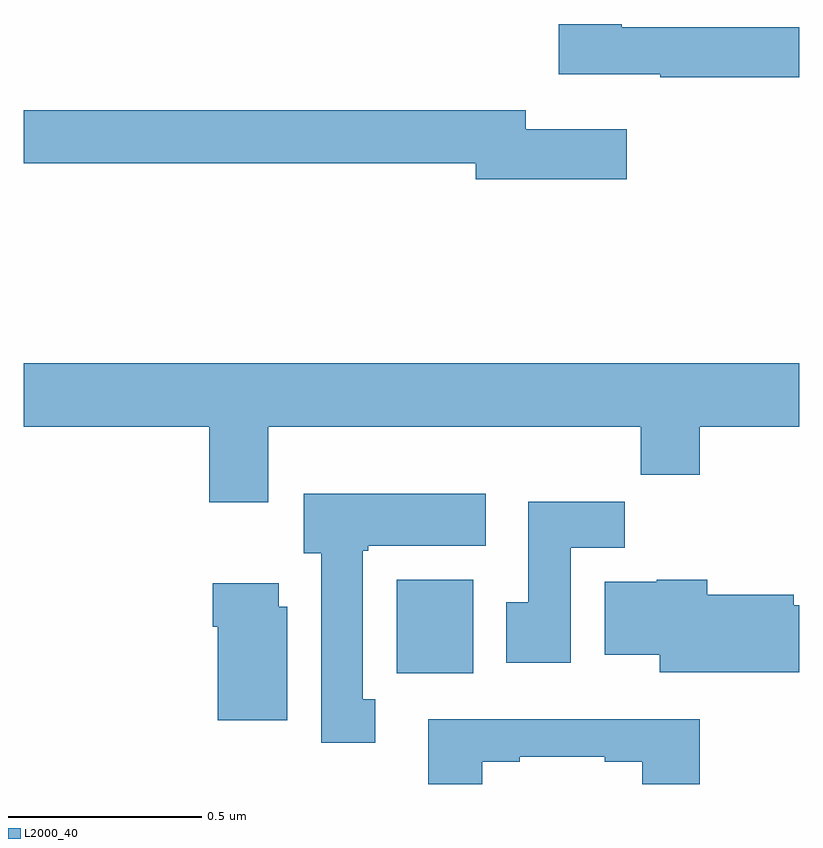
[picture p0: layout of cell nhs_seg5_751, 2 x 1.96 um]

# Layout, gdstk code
import gdstk
lib = gdstk.Library(unit=1e-6, precision=1e-09)
def R(c, l, rs):  # rectangles x0, y0, x1, y1
    for r in rs: c.add(gdstk.rectangle(r[:2], r[2:], *l))
def P(c, l, *ps):  # polygons
    for p in ps: c.add(gdstk.Polygon(p, *l))
L2000_40 = (2000, 40)

nhs_seg5_751 = lib.new_cell('nhs_seg5_751')
R(nhs_seg5_751, L2000_40, [(120.962,896.084,121.159,896.326)])
P(nhs_seg5_751, L2000_40, [(122,897.751),(121.542,897.751),(121.542,897.759),(121.38,897.759),(121.38,897.629),(121.642,897.629),(121.642,897.622),(122,897.622)],
  [(121.555,897.487),(121.294,897.487),(121.294,897.536),(120,897.536),(120,897.4),(121.166,897.4),(121.166,897.358),(121.555,897.358)],
  [(120.631,896.72),(121.591,896.72),(121.591,896.596),(121.743,896.596),(121.743,896.72),(122,896.72),(122,896.884),(120,896.884),(120,896.72),(120.479,896.72),(120.479,896.526),(120.631,896.526)],
  [(120.907,896.018),(120.874,896.018),(120.874,896.401),(120.888,896.401),(120.888,896.414),(121.192,896.414),(121.192,896.548),(120.722,896.548),(120.722,896.394),(120.767,896.394),(120.767,895.905),(120.907,895.905)],
  [(121.411,896.408),(121.55,896.408),(121.55,896.527),(121.301,896.527),(121.301,896.268),(121.244,896.268),(121.244,896.112),(121.411,896.112)],
  [(122,896.26),(121.986,896.26),(121.986,896.287),(121.763,896.287),(121.763,896.326),(121.632,896.326),(121.632,896.32),(121.499,896.32),(121.499,896.132),(121.64,896.132),(121.64,896.087),(122,896.087)],
  [(120.679,896.256),(120.658,896.256),(120.658,896.317),(120.488,896.317),(120.488,896.204),(120.5,896.204),(120.5,895.964),(120.679,895.964)],
  [(121.183,895.857),(121.279,895.857),(121.279,895.869),(121.499,895.869),(121.499,895.857),(121.595,895.857),(121.595,895.799),(121.743,895.799),(121.743,895.966),(121.043,895.966),(121.043,895.799),(121.183,895.799)])

lib.write_gds('nhs_seg5_751.gds')
